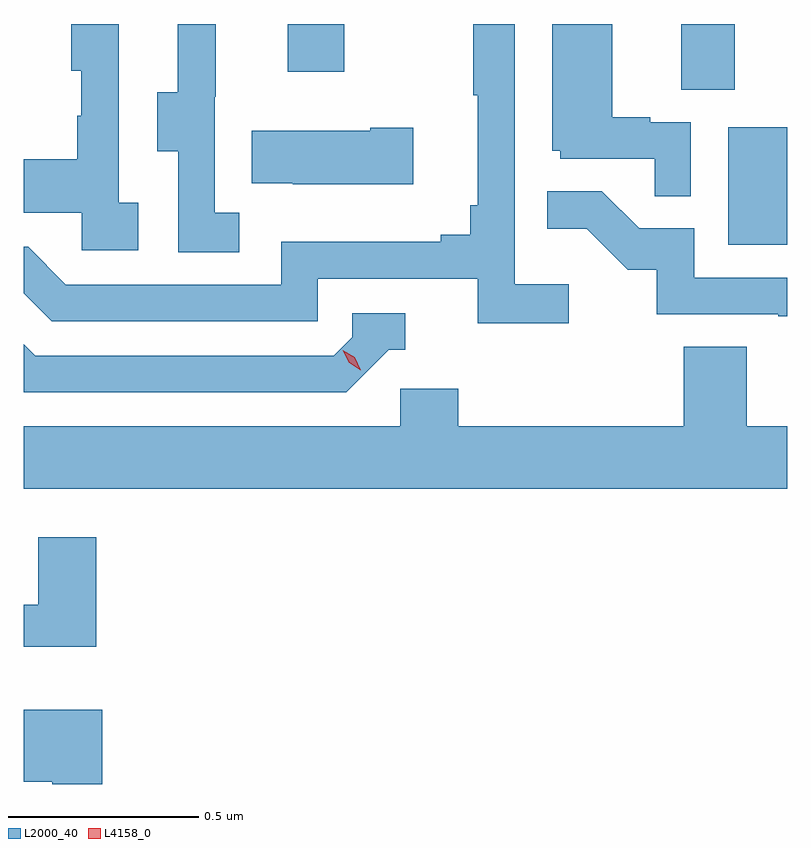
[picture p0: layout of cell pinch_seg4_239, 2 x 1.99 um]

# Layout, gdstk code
import gdstk
lib = gdstk.Library(unit=1e-6, precision=1e-09)
def R(c, l, rs):  # rectangles x0, y0, x1, y1
    for r in rs: c.add(gdstk.rectangle(r[:2], r[2:], *l))
def P(c, l, *ps):  # polygons
    for p in ps: c.add(gdstk.Polygon(p, *l))
L2000_40 = (2000, 40)
L4158_0 = (4158, 0)

pinch_seg4_239 = lib.new_cell('pinch_seg4_239')
R(pinch_seg4_239, L2000_40, [(900.182,813.444,900.336,813.751), (900.059,813.85,900.199,814.022), (899.027,813.897,899.175,814.022)])
P(pinch_seg4_239, L2000_40, [(899.764,813.34),(899.622,813.34),(899.622,814.022),(899.514,814.022),(899.514,813.835),(899.525,813.835),(899.525,813.547),(899.506,813.547),(899.506,813.47),(899.429,813.47),(899.429,813.451),(899.01,813.451),(899.01,813.339),(898.446,813.339),(898.347,813.438),(898.336,813.438),(898.336,813.316),(898.409,813.243),(899.106,813.243),(899.106,813.354),(899.525,813.354),(899.525,813.238),(899.764,813.238)],
  [(898.9,813.527),(898.836,813.527),(898.836,813.831),(898.838,813.831),(898.838,814.022),(898.739,814.022),(898.739,813.843),(898.685,813.843),(898.685,813.688),(898.74,813.688),(898.74,813.424),(898.9,813.424)],
  [(898.636,813.554),(898.584,813.554),(898.584,814.022),(898.46,814.022),(898.46,813.9),(898.486,813.9),(898.486,813.782),(898.476,813.782),(898.476,813.667),(898.336,813.667),(898.336,813.527),(898.488,813.527),(898.488,813.429),(898.636,813.429)],
  [(900.084,813.765),(899.978,813.765),(899.978,813.778),(899.878,813.778),(899.878,814.022),(899.72,814.022),(899.72,813.69),(899.742,813.69),(899.742,813.669),(899.989,813.669),(899.989,813.571),(900.084,813.571)],
  [(899.356,813.75),(899.243,813.75),(899.243,813.742),(898.933,813.742),(898.933,813.605),(899.041,813.605),(899.041,813.602),(899.356,813.602)],
  [(900.336,813.357),(900.093,813.357),(900.093,813.486),(899.949,813.486),(899.851,813.584),(899.707,813.584),(899.707,813.485),(899.811,813.485),(899.918,813.378),(899.995,813.378),(899.995,813.261),(900.313,813.261),(900.313,813.256),(900.336,813.256)],
  [(899.292,813.168),(899.335,813.168),(899.335,813.264),(899.196,813.264),(899.196,813.201),(899.148,813.153),(898.365,813.153),(898.336,813.182),(898.336,813.057),(899.181,813.057)],
  [(900.336,812.968),(900.23,812.968),(900.23,813.176),(900.065,813.176),(900.065,812.968),(899.474,812.968),(899.474,813.066),(899.322,813.066),(899.322,812.968),(898.336,812.968),(898.336,812.804),(900.336,812.804)],
  [(898.526,812.677),(898.373,812.677),(898.373,812.5),(898.336,812.5),(898.336,812.39),(898.526,812.39)],
  [(898.541,812.224),(898.336,812.224),(898.336,812.036),(898.41,812.036),(898.41,812.03),(898.541,812.03)])
P(pinch_seg4_239, L4158_0, [(899.219,813.115),(899.188,813.134),(899.172,813.167),(899.172,813.167),(899.172,813.167),(899.203,813.148),(899.219,813.115),(899.219,813.115)])

lib.write_gds('pinch_seg4_239.gds')
